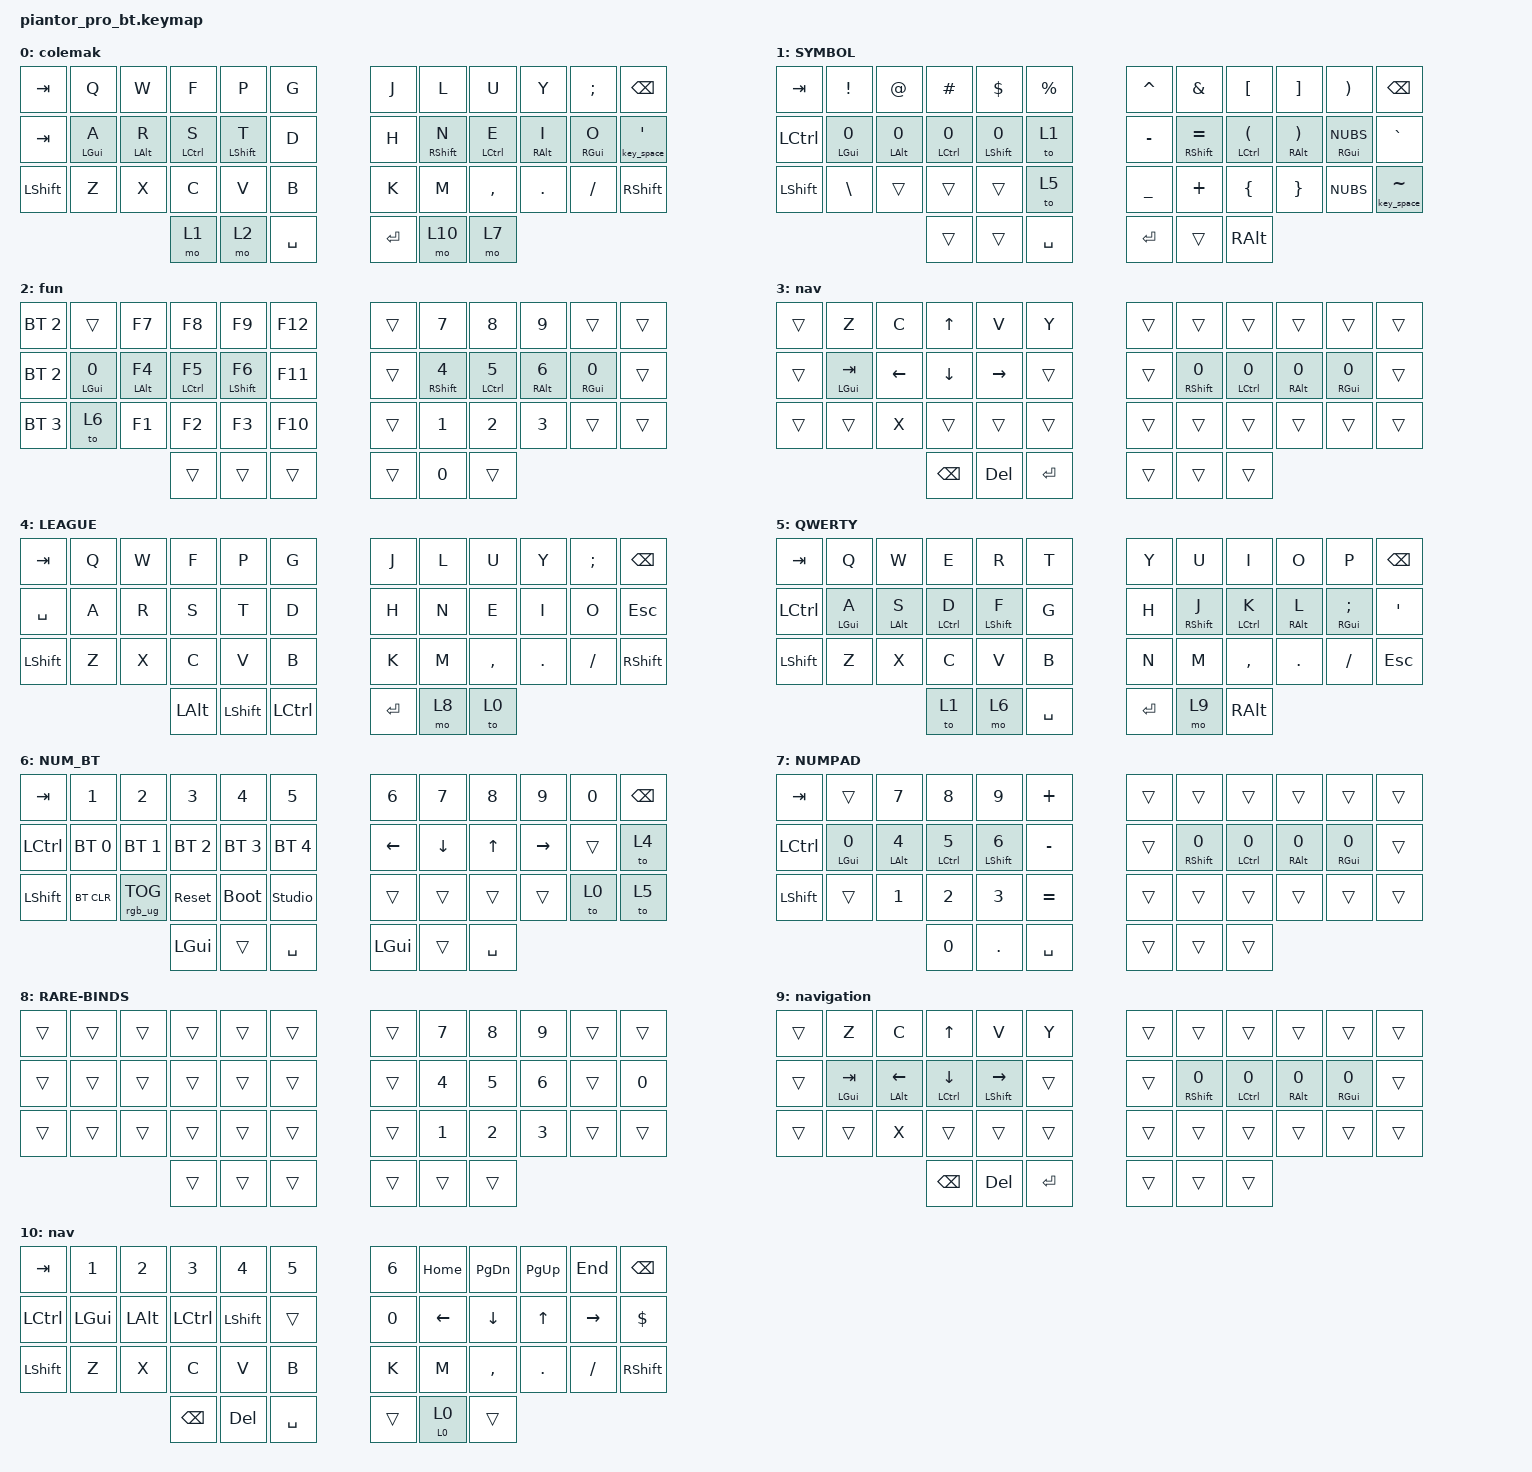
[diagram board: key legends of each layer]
/*
 * Copyright (c) 2020 The ZMK Contributors
 *
 * SPDX-License-Identifier: MIT
 */

#include <behaviors.dtsi>
#include <dt-bindings/zmk/bt.h>
#include <dt-bindings/zmk/keys.h>
#include <dt-bindings/zmk/rgb.h>

/ {
    chosen { zmk,physical-layout = &default_layout; };
};

/ {
    macros {
        // Generic macro that takes a key parameter and adds space

        key_space: key_space {
            compatible = "zmk,behavior-macro-one-param";
            #binding-cells = <1>;
            bindings = <&macro_param_1to1 &kp MACRO_PLACEHOLDER &kp SPACE>;
        };

        umlaut: umlaut {
            compatible = "zmk,behavior-macro-one-param";
            #binding-cells = <1>;
            bindings = <&kp DQT &macro_param_1to1 &kp MACRO_PLACEHOLDER>;
            label = "umlaut";
        };
    };
};

/ {
    combos {
        compatible = "zmk,combos";

        combo_caps_word {
            timeout-ms = <50>;
            key-positions = <17 18>;
            bindings = <&caps_word>;
        };

        combo_right_index_bottom {
            bindings = <&kp MINUS>;
            key-positions = <19 31>;
        };

        combo_left_ring_top {
            bindings = <&kp AT>;
            key-positions = <2 14>;
        };

        combo_left_index_top {
            bindings = <&kp PERCENT>;
            key-positions = <4 16>;
            require-prior-idle-ms = <150>;
        };

        combo_left_middle_top {
            bindings = <&kp HASH>;
            key-positions = <3 15>;
            require-prior-idle-ms = <150>;
        };

        combo_right_index_top {
            bindings = <&kp PLUS>;
            key-positions = <19 7>;
        };

        combo_right_middle_top {
            bindings = <&kp ASTERISK>;
            key-positions = <8 20>;
        };

        combo_right_ring_top {
            bindings = <&kp AMPERSAND>;
            key-positions = <9 21>;
        };

        combo_right_ring_bottom {
            bindings = <&kp PIPE>;
            key-positions = <21 33>;
        };

        combo_left_pinky {
            bindings = <&kp EXCL>;
            key-positions = <1 13>;
        };

        combo_2_index {
            bindings = <&kp ESCAPE>;
            key-positions = <16 19>;
        };

        combo_2_ring {
            bindings = <&kp TAB>;
            key-positions = <14 21>;
        };

        ae {
            bindings = <&umlaut A>;
            key-positions = <13 38>;
        };

        ue {
            bindings = <&umlaut U>;
            key-positions = <38 8>;
        };

        oe {
            bindings = <&umlaut O>;
            key-positions = <38 22>;
        };

        combo_left_index_hr {
            bindings = <&kp EQUAL>;
            key-positions = <18 19>;
        };
    };
};

/ {
    behaviors {
        hml: homewrow_mods_left {
            compatible = "zmk,behavior-hold-tap";
            label = "HOMEROW_MODS_LEFT_HAND";
            bindings = <&kp>, <&kp>;

            #binding-cells = <2>;
            tapping-term-ms = <280>;
            hold-trigger-key-positions = <6 7 8 9 10 11 18 19 20 21 22 23 30 31 32 33 34 35 39 40 41>;
            quick-tap-ms = <175>;
            require-prior-idle-ms = <150>;
            flavor = "balanced";
            hold-trigger-on-release;
        };

        hmr: homewrow_mods_right {
            compatible = "zmk,behavior-hold-tap";
            label = "HOMEROW_MODS_RIGHT_HAND";
            bindings = <&kp>, <&kp>;

            #binding-cells = <2>;
            tapping-term-ms = <280>;
            hold-trigger-key-positions = <0 1 2 3 4 5 14 15 16 17 12 13 26 24 25 26 27 28 29 36 37 38>;
            quick-tap-ms = <175>;
            require-prior-idle-ms = <150>;
            flavor = "balanced";
            hold-trigger-on-release;
        };

        moto: hold_tap_momentary_to {
            compatible = "zmk,behavior-hold-tap";
            label = "HOLD_TAP_MOMENTARY_TO";
            bindings = <&mo>, <&to>;

            #binding-cells = <2>;
            tapping-term-ms = <280>;
            hold-trigger-key-positions = <0 1 2 3 4 5 14 15 16 17 12 13 26 24 25 26 27 28 29 36 37 38 6 7 8 9 10 11 18 19 20 21 22 23 30 31 32 33 34 35 39 40 41>;
            quick-tap-ms = <175>;
            require-prior-idle-ms = <150>;
            flavor = "balanced";
            hold-trigger-on-release;
        };
    };

    keymap {
        compatible = "zmk,keymap";

        colemak {
            display-name = "colemak";

            // -----------------------------------------------------------------------------------------
            // |  TAB |  Q  |  W  |  F  |  P  |  G  |  J  |  L  |  U  |  Y  |  ;  | BSPC |
            // | CTRL |  A  |  R  |  S  |  T  |  D  |  H  |  N  |  E  |  I  |  O  |  '   |
            // | SHFT |  Z  |  X  |  C  |  V  |  B  |  K  |  M  |  ,  |  .  |  /  | SHFT |
            //                    | LYR1| LYR2| SPC | ENT | LYR9| ESC |

            bindings = <
&kp TAB    &kp Q            &kp W            &kp F                &kp P              &kp G        &kp J      &kp L               &kp U                &kp Y             &kp SEMI          &kp BACKSPACE
&kp TAB    &hml LEFT_GUI A  &hml LEFT_ALT R  &hml LEFT_CONTROL S  &hml LEFT_SHIFT T  &kp D        &kp H      &hmr RIGHT_SHIFT N  &hmr LEFT_CONTROL E  &hmr RIGHT_ALT I  &hmr RIGHT_GUI O  &key_space SQT
&kp LSHFT  &kp Z            &kp X            &kp C                &kp V              &kp B        &kp K      &kp M               &kp COMMA            &kp DOT           &kp FSLH          &kp RIGHT_SHIFT
                                             &mo 1                &mo 2              &kp SPACE    &kp ENTER  &mo 10              &mo 7
            >;
        };

        symbol {
            display-name = "SYMBOL";

            // -----------------------------------------------------------------------------------------
            // |  TAB |  !  |  @  |  #  |  $  |  %  |  ^  |  &  |  *  |  (  |  )  | BSPC |
            // | CTRL |     |     |     |     | LYR1| -   |  =  |  [  |  ]  |  \  |  `   |
            // | SHFT |     |     |     |     | LYR5| _   |  +  |  {  |  }  |  |  |  ~   |
            //                    | GUI |     | SPC | ENT |     | ALT |

            bindings = <
&kp TAB    &kp EXCL          &kp AT            &kp HASH              &kp DLLR            &kp PRCNT    &kp CARET  &kp AMPS                &kp LEFT_BRACKET                    &kp RIGHT_BRACKET                 &kp RPAR             &kp BSPC
&kp LCTRL  &hml LEFT_GUI N0  &hml LEFT_ALT N0  &hml LEFT_CONTROL N0  &hml LEFT_SHIFT N0  &to 1        &kp MINUS  &hmr RIGHT_SHIFT EQUAL  &hmr LEFT_CONTROL LEFT_PARENTHESIS  &hmr RIGHT_ALT RIGHT_PARENTHESIS  &hmr RIGHT_GUI NUBS  &kp GRAVE
&kp LSHFT  &kp BSLH          &trans            &trans                &trans              &to 5        &kp UNDER  &kp PLUS                &kp LBRC                            &kp RBRC                          &kp NUBS             &key_space TILDE
                                               &trans                &trans              &kp SPACE    &kp RET    &trans                  &kp RALT
            >;
        };

        fnnum {
            display-name = "fun";

            // -----------------------------------------------------------------------------------------
            // | BT2 |     | F7  | F8  | F9  | F12 |     | 7   | 8   | 9   |     |      |
            // | BT2 |     | F4  | F5  | F6  | F11 |     | 4   | 5   | 6   | 0   |      |
            // | BT3 | LYR6| F1  | F2  | F3  | F10 |     | 1   | 2   | 3   |     |      |
            //                   |     |     |     |     | 0   |     |

            bindings = <
&bt BT_SEL 2  &trans            &kp F7            &kp F8                &kp F9              &kp F12    &trans  &kp N7               &kp N8                &kp N9             &trans             &trans
&bt BT_SEL 2  &hml LEFT_GUI N0  &hml LEFT_ALT F4  &hml LEFT_CONTROL F5  &hml LEFT_SHIFT F6  &kp F11    &trans  &hmr RIGHT_SHIFT N4  &hmr LEFT_CONTROL N5  &hmr RIGHT_ALT N6  &hmr RIGHT_GUI N0  &trans
&bt BT_SEL 3  &to 6             &kp F1            &kp F2                &kp F3              &kp F10    &trans  &kp N1               &kp N2                &kp N3             &trans             &trans
                                                  &trans                &trans              &trans     &trans  &kp N0               &trans
            >;
        };

        Nav {
            display-name = "nav";

            // -----------------------------------------------------------------------------------------
            // |      | Z   | C   | UP  | V   | Y   |     |     |     |     |     |      |
            // |      | TAB | LFT | DWN | RGT |     |     |     |     |     |     |      |
            // |      |     | X   |     |     |     |     |     |     |     |     |      |
            //                    | BSPC| DEL | ENT |     |     |     |

            bindings = <
&trans  &kp Z              &kp C           &kp UP    &kp V       &kp Y        &trans  &trans               &trans                &trans             &trans             &trans
&trans  &hml LEFT_GUI TAB  &kp LEFT_ARROW  &kp DOWN  &kp RIGHT   &trans       &trans  &hmr RIGHT_SHIFT N0  &hmr LEFT_CONTROL N0  &hmr RIGHT_ALT N0  &hmr RIGHT_GUI N0  &trans
&trans  &trans             &kp X           &trans    &trans      &trans       &trans  &trans               &trans                &trans             &trans             &trans
                                           &kp BSPC  &kp DELETE  &kp ENTER    &trans  &trans               &trans
            >;
        };

        gaming {
            display-name = "LEAGUE";

            // -----------------------------------------------------------------------------------------
            // | TAB  | Q   | W   | F   | P   | G   | J   | L   | U   | Y   | ;   | BSPC |
            // | SPC  | A   | R   | S   | T   | D   | H   | N   | E   | I   | O   | ESC  |
            // | SHFT | Z   | X   | C   | V   | B   | K   | M   | ,   | .   | /   | SHFT |
            //                    | ALT | SHFT| CTRL| ENT | LYR8| LYR0|
            // colemak base, homerow mods stripped (the only deliberate difference from colemak);
            // SPACE relocated to the A-column, SHIFT relocated to the left-middle thumb;
            // right hand kept at colemak defaults — it's the mouse hand while gaming.

            bindings = <
&kp TAB    &kp Q      &kp W      &kp F      &kp P      &kp G        &kp J      &kp L      &kp U      &kp Y      &kp SEMI   &kp BACKSPACE
&kp SPACE  &kp A      &kp R      &kp S      &kp T      &kp D        &kp H      &kp N      &kp E      &kp I      &kp O      &kp ESC
&kp LSHFT  &kp Z      &kp X      &kp C      &kp V      &kp B        &kp K      &kp M      &kp COMMA  &kp DOT    &kp FSLH   &kp RIGHT_SHIFT
                                  &kp LALT   &kp LSHFT  &kp LCTRL    &kp ENTER  &mo 8      &to 0
            >;
        };

        qwerty {
            display-name = "QWERTY";

            // -----------------------------------------------------------------------------------------
            // |  TAB |  Q  |  W  |  E  |  R  |  T  |  Y  |  U   |  I  |  O  |  P  | BSPC |
            // | CTRL |  A  |  S  |  D  |  F  |  G  |  H  |  J   |  K  |  L  |  ;  |  '   |
            // | SHFT |  Z  |  X  |  C  |  V  |  B  |  N  |  M   |  ,  |  .  |  /  | ESC  |
            //                    | LYR1| LYR6| SPC | ENT | LYR9 | RALT|

            bindings = <
&kp TAB    &kp Q            &kp W            &kp E                &kp R              &kp T        &kp Y    &kp U               &kp I                &kp O             &kp P                &kp BSPC
&kp LCTRL  &hml LEFT_GUI A  &hml LEFT_ALT S  &hml LEFT_CONTROL D  &hml LEFT_SHIFT F  &kp G        &kp H    &hmr RIGHT_SHIFT J  &hmr LEFT_CONTROL K  &hmr RIGHT_ALT L  &hmr RIGHT_GUI SEMI  &kp SQT
&kp LSHFT  &kp Z            &kp X            &kp C                &kp V              &kp B        &kp N    &kp M               &kp COMMA            &kp DOT           &kp FSLH             &kp ESC
                                             &to 1                &mo 6              &kp SPACE    &kp RET  &mo 9               &kp RALT
            >;
        };

        lower_layer {
            display-name = "NUM_BT";

            // -----------------------------------------------------------------------------------------
            // |  TAB |  1  |  2  |  3  |  4  |  5    |  6  |  7  |  8  |  9  |  0  | BSPC |
            // | CTRL | BT1 | BT2 | BT3 | BT4 | BT5   | LFT | DWN |  UP | RGT |     | LYR4 |
            // | SHFT | BTCR| RGB | RST | BOOT| Unlock|     |     |     |     | LYR0| LYR5 |
            //                    | GUI |     | SPC   | GUI |     | SPC |

            bindings = <
&kp TAB    &kp N1        &kp N2           &kp N3        &kp N4        &kp N5            &kp N6    &kp N7    &kp N8     &kp N9     &kp N0  &kp BSPC
&kp LCTRL  &bt BT_SEL 0  &bt BT_SEL 1     &bt BT_SEL 2  &bt BT_SEL 3  &bt BT_SEL 4      &kp LEFT  &kp DOWN  &kp UP     &kp RIGHT  &trans  &to 4
&kp LSHFT  &bt BT_CLR    &rgb_ug RGB_TOG  &sys_reset    &bootloader   &studio_unlock    &trans    &trans    &trans     &trans     &to 0   &to 5
                                          &kp LGUI      &trans        &kp SPACE         &kp LGUI  &trans    &kp SPACE
            >;
        };

        num_layer {
            display-name = "NUMPAD";

            // -----------------------------------------------------------------------------------------
            // |  TAB |     |  7  |  8  |  9  |  +  |     |     |     |     |     |      |
            // | CTRL |     |  4  |  5  |  6  |  -  |     |     |     |     |     |      |
            // | SHFT |     |  1  |  2  |  3  |  =  |     |     |     |     |     |      |
            //                    |  0  |  .  | SPC |     |     |     |

            bindings = <
&kp TAB    &trans            &kp N7            &kp N8                &kp N9              &kp PLUS     &trans  &trans               &trans                &trans             &trans             &trans
&kp LCTRL  &hml LEFT_GUI N0  &hml LEFT_ALT N4  &hml LEFT_CONTROL N5  &hml LEFT_SHIFT N6  &kp MINUS    &trans  &hmr RIGHT_SHIFT N0  &hmr LEFT_CONTROL N0  &hmr RIGHT_ALT N0  &hmr RIGHT_GUI N0  &trans
&kp LSHFT  &trans            &kp N1            &kp N2                &kp N3              &kp EQUAL    &trans  &trans               &trans                &trans             &trans             &trans
                                               &kp N0                &kp DOT             &kp SPACE    &trans  &trans               &trans
            >;
        };

        rare_binds {
            display-name = "RARE-BINDS";

            // -----------------------------------------------------------------------------------------
            // |     |     |     |     |     |     |     |  7  |  8  |  9  |     | BSPC |
            // |     |     |     |     |     |     |     |  4  |  5  |  6  |     |  0   |
            // |     |     |     |     |     |     |     |  1  |  2  |  3  |     | SHFT |
            //                    |     |     |     |     |     |     |
            // held from gaming's right-middle thumb (&mo 8); left hand &trans so
            // abilities stay live underneath. BSPC/0/SHIFT column kept &trans/N0 to
            // match gaming's own right-edge keys at rest.

            bindings = <
&trans  &trans  &trans  &trans  &trans  &trans      &trans  &kp N7  &kp N8  &kp N9  &trans  &trans
&trans  &trans  &trans  &trans  &trans  &trans      &trans  &kp N4  &kp N5  &kp N6  &trans  &kp N0
&trans  &trans  &trans  &trans  &trans  &trans      &trans  &kp N1  &kp N2  &kp N3  &trans  &trans
                        &trans  &trans  &trans      &trans  &trans  &trans
            >;
        };

        layer_9 {
            display-name = "navigation";

            // -----------------------------------------------------------------------------------------
            // |      | Z   | C   | UP  | V   | Y   |     |     |     |     |     |      |
            // |      | TAB | LFT | DWN | RGT |     |     |     |     |     |     |      |
            // |      |     | X   |     |     |     |     |     |     |     |     |      |
            //                    | BSPC| DEL | ENT |     |     |     |

            bindings = <
&trans  &kp Z              &kp C               &kp UP                  &kp V                  &kp Y        &trans  &trans               &trans                &trans             &trans             &trans
&trans  &hml LEFT_GUI TAB  &hml LEFT_ALT LEFT  &hml LEFT_CONTROL DOWN  &hml LEFT_SHIFT RIGHT  &trans       &trans  &hmr RIGHT_SHIFT N0  &hmr LEFT_CONTROL N0  &hmr RIGHT_ALT N0  &hmr RIGHT_GUI N0  &trans
&trans  &trans             &kp X               &trans                  &trans                 &trans       &trans  &trans               &trans                &trans             &trans             &trans
                                               &kp BSPC                &kp DELETE             &kp ENTER    &trans  &trans               &trans
            >;
        };

        motion {
            display-name = "nav";
            bindings = <
&kp TAB    &kp N1        &kp N2        &kp N3            &kp N4          &kp N5       &kp N6  &kp HOME   &kp PAGE_DOWN  &kp PAGE_UP  &kp END    &kp BACKSPACE
&kp LCTRL  &kp LEFT_GUI  &kp LEFT_ALT  &kp LEFT_CONTROL  &kp LEFT_SHIFT  &trans       &kp N0  &kp LEFT   &kp DOWN       &kp UP       &kp RIGHT  &kp DOLLAR
&kp LSHFT  &kp Z         &kp X         &kp C             &kp V           &kp B        &kp K   &kp M      &kp COMMA      &kp DOT      &kp FSLH   &kp RIGHT_SHIFT
                                       &kp BSPC          &kp DEL         &kp SPACE    &trans  &moto 0 0  &trans
            >;
        };
    };
};
